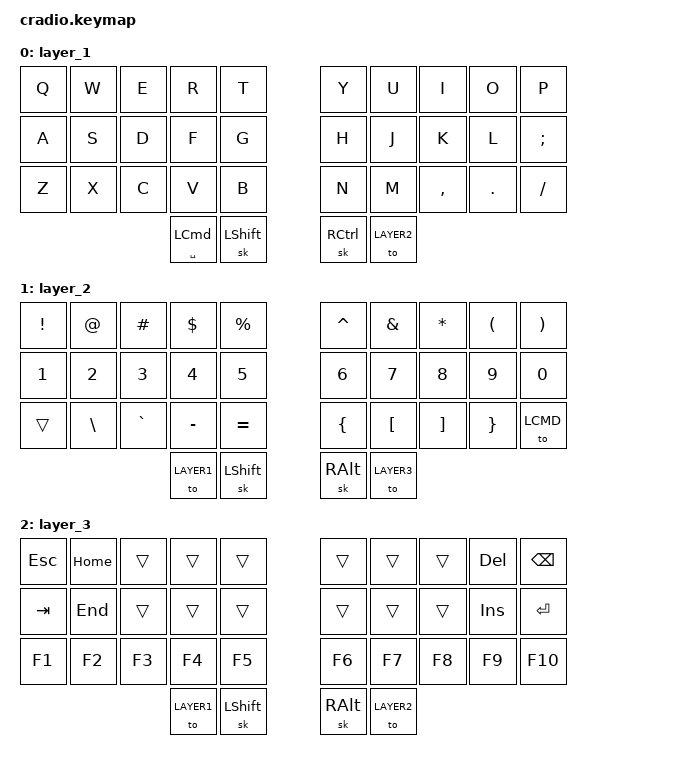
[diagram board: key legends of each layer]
// Copyright (c) 2022 The ZMK Contributors
// SPDX-License-Identifier: MIT

#include <behaviors.dtsi>
#include <dt-bindings/zmk/keys.h>
#include <dt-bindings/zmk/bt.h>

// Home row mods macro
/* #define HRML(k1,k2,k3,k4) &ht LSHFT k1  &ht LALT k2  &ht LCTRL k3  &ht LGUI k4 */
/* #define HRMR(k1,k2,k3,k4) &ht RGUI k1  &ht RCTRL k2  &ht RALT k3  &ht RSHFT k4 */

#define LAYER1  0
#define LAYER2  1
#define LAYER3  2
#define LAYER4  3

/ {
    behaviors {
        ht: hold_tap {
            compatible = "zmk,behavior-hold-tap";
            #binding-cells = <2>;
            flavor = "tap-preferred";
            tapping-term-ms = <220>;
            quick-tap-ms = <150>;
            require-prior-idle-ms = <100>;
            bindings = <&kp>, <&kp>;
        };
    };

    /*
    conditional_layers {
        compatible = "zmk,conditional-layers";
        tri_layer {
            if-layers = <1 2>;
            then-layer = <3>;
        }; Ad
    };
    */

    keymap {
        compatible = "zmk,keymap";
        layer_1 {
            bindings = <
            &kp Q      &kp W      &kp E      &kp R      &kp T          &kp Y      &kp U      &kp I      &kp O      &kp P
            &kp A      &kp S      &kp D      &kp F      &kp G          &kp H      &kp J      &kp K      &kp L      &kp SEMI 
            &kp Z      &kp X      &kp C      &kp V      &kp B          &kp N      &kp M      &kp COMMA  &kp DOT    &kp FSLH
                                             &ht SPACE LCMD &sk LSHIFT  &sk RCTRL  &to LAYER2
            >;
        };

        layer_2 {
            bindings = <
            &kp EXCL   &kp AT     &kp HASH   &kp DLLR   &kp PRCNT      &kp CARET  &kp AMPS   &kp STAR   &kp LPAR   &kp RPAR
            &kp N1     &kp N2     &kp N3     &kp N4     &kp N5         &kp N6     &kp N7     &kp N8     &kp N9     &kp N0
            &trans     &kp BSLH   &kp GRAVE  &kp MINUS  &kp EQUAL      &kp LBRC   &kp LBKT   &kp RBKT   &kp RBRC   &to LCMD 
                                             &to LAYER1 &sk LSHIFT     &sk RALT   &to LAYER3
            >;
        };

        layer_3 {
            bindings = <
            &kp ESC    &kp HOME   &trans     &trans     &trans         &trans     &trans     &trans     &kp DEL    &kp BSPC 
            &kp TAB    &kp END    &trans     &trans     &trans         &trans     &trans     &trans     &kp INS    &kp ENTER
            &kp F1     &kp F2     &kp F3     &kp F4     &kp F5         &kp F6     &kp F7     &kp F8     &kp F9     &kp F10 
                                             &to LAYER1 &sk LSHIFT     &sk RALT &to LAYER2
            >;
        };
    };
};
